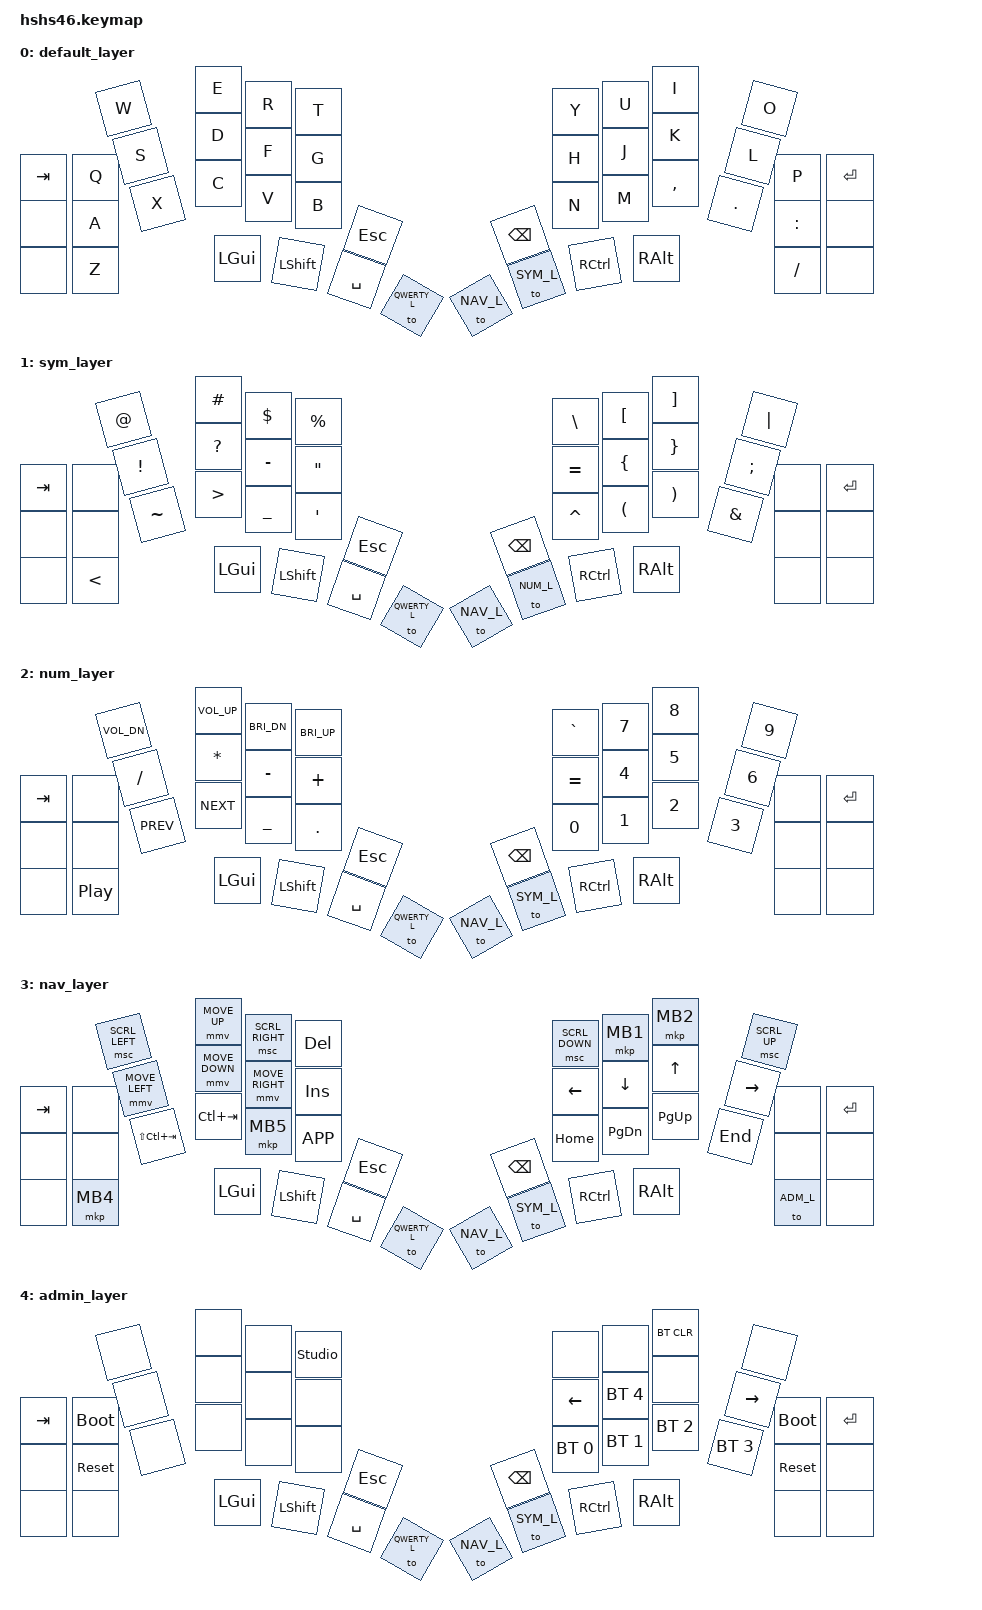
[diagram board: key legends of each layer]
/*
 * Copyright (c) 2021-2022 The ZMK Contributors
 *
 * SPDX-License-Identifier: MIT
 */

#include <behaviors.dtsi>
#include <dt-bindings/zmk/bt.h>
#include <dt-bindings/zmk/ext_power.h>
#include <dt-bindings/zmk/keys.h>
#include <dt-bindings/zmk/outputs.h>
#include <dt-bindings/zmk/pointing.h>

#define QWERTY_L 0
#define SYM_L    1
#define NUM_L    2
#define NAV_L    3
#define ADM_L    4

/* #define Undo   LC(Z) */
/* #define Cut    LC(X) */
/* #define Copy   LC(C) */
/* #define Paste  LC(V) */
/* #define Redo   LC(Y) */


/ {
        keymap {
                compatible = "zmk,keymap";

                default_layer {
/* QWERTY */
                        bindings = <
//    ┌─────┬───┬───┬──────┬──────┬─────┐                            ┌──────────┬──────┬──────┬───┬───┬─────┐
//    │ tab │ Q │ W │  E   │  R   │  T  │                            │    Y     │  U   │  I   │ O │ P │ ent │
//    ├─────┼───┼───┼──────┼──────┼─────┤                            ├──────────┼──────┼──────┼───┼───┼─────┤
//    │     │ A │ S │  D   │  F   │  G  │                            │    H     │  J   │  K   │ L │ : │     │
//    ├─────┼───┼───┼──────┼──────┼─────┼─────────────┐   ┌──────────┼──────────┼──────┼──────┼───┼───┼─────┤
//    │     │ Z │ X │  C   │  V   │  B  │     esc     │   │   bspc   │    N     │  M   │  ,   │ . │ / │     │
//    └─────┴───┴───┼──────┼──────┼─────┼─────────────┤   ├──────────┼──────────┼──────┼──────┼───┴───┴─────┘
//                  │ lgui │ lsft │ spc │ to QWERTY_L │   │ to NAV_L │ to SYM_L │ rctl │ ralt │
//                  └──────┴──────┴─────┴─────────────┘   └──────────┴──────────┴──────┴──────┘
  &kp TAB   &kp Q   &kp W   &kp E      &kp R       &kp T                                      &kp Y       &kp U       &kp I       &kp O     &kp P       &kp ENTER
  &none     &kp A   &kp S   &kp D      &kp F       &kp G                                      &kp H       &kp J       &kp K       &kp L     &kp COLON   &none
  &none     &kp Z   &kp X   &kp C      &kp V       &kp B       &kp ESC            &kp BSPC    &kp N       &kp M       &kp COMMA   &kp DOT   &kp SLASH   &none
                            &kp LGUI   &kp LSHFT   &kp SPACE   &to QWERTY_L       &to NAV_L   &to SYM_L   &kp RCTRL   &kp RALT
                        >;

                };

                sym_layer {
/* SYM */
                        bindings = <
//    ┌─────┬─────┬───┬──────┬──────┬─────┐                            ┌──────────┬──────┬──────┬───┬─────┬─────┐
//    │ tab │     │ @ │  #   │  $   │  %  │                            │    \     │  [   │  ]   │ | │     │ ent │
//    ├─────┼─────┼───┼──────┼──────┼─────┤                            ├──────────┼──────┼──────┼───┼─────┼─────┤
//    │     │     │ ! │  ?   │  -   │  "  │                            │    =     │  {   │  }   │ ; │     │     │
//    ├─────┼─────┼───┼──────┼──────┼─────┼─────────────┐   ┌──────────┼──────────┼──────┼──────┼───┼─────┼─────┤
//    │     │  <  │ ~ │  >   │  _   │  '  │     esc     │   │   bspc   │    ^     │  (   │  )   │ & │     │     │
//    └─────┴─────┴───┼──────┼──────┼─────┼─────────────┤   ├──────────┼──────────┼──────┼──────┼───┴─────┴─────┘
//                    │ lgui │ lsft │ spc │ to QWERTY_L │   │ to NAV_L │ to NUM_L │ rctl │ ralt │
//                    └──────┴──────┴─────┴─────────────┘   └──────────┴──────────┴──────┴──────┘
  &kp TAB   &none    &kp AT      &kp HASH    &kp DOLLAR   &kp PERCENT                                  &kp BSLH    &kp LBKT    &kp RBKT   &kp PIPE   &none   &kp ENTER
  &none     &none    &kp EXCL    &kp QMARK   &kp MINUS    &kp DQT                                      &kp EQUAL   &kp LBRC    &kp RBRC   &kp SEMI   &none   &none
  &none     &kp LT   &kp TILDE   &kp GT      &kp UNDER    &kp SQT       &kp ESC            &kp BSPC    &kp CARET   &kp LPAR    &kp RPAR   &kp AMPS   &none   &none
                                 &kp LGUI    &kp LSHFT    &kp SPACE     &to QWERTY_L       &to NAV_L   &to NUM_L   &kp RCTRL   &kp RALT
                        >;

                };

                num_layer {
/* NUM */
                        bindings = <
//    ┌─────┬──────┬──────┬──────┬──────┬──────┐                            ┌──────────┬──────┬──────┬───┬─────┬─────┐
//    │ tab │      │ vold │ volu │ bri- │ bri+ │                            │    `     │  7   │  8   │ 9 │     │ ent │
//    ├─────┼──────┼──────┼──────┼──────┼──────┤                            ├──────────┼──────┼──────┼───┼─────┼─────┤
//    │     │      │  /   │  *   │  -   │  +   │                            │    =     │  4   │  5   │ 6 │     │     │
//    ├─────┼──────┼──────┼──────┼──────┼──────┼─────────────┐   ┌──────────┼──────────┼──────┼──────┼───┼─────┼─────┤
//    │     │ play │ prev │ next │  _   │  .   │     esc     │   │   bspc   │    0     │  1   │  2   │ 3 │     │     │
//    └─────┴──────┴──────┼──────┼──────┼──────┼─────────────┤   ├──────────┼──────────┼──────┼──────┼───┴─────┴─────┘
//                        │ lgui │ lsft │ spc  │ to QWERTY_L │   │ to NAV_L │ to SYM_L │ rctl │ ralt │
//                        └──────┴──────┴──────┴─────────────┘   └──────────┴──────────┴──────┴──────┘
  &kp TAB   &none      &kp C_VOL_DN   &kp C_VOL_UP   &kp C_BRI_DN   &kp C_BRI_UP                                  &kp GRAVE   &kp N7      &kp N8     &kp N9   &none   &kp ENTER
  &none     &none      &kp SLASH      &kp ASTRK      &kp MINUS      &kp PLUS                                      &kp EQUAL   &kp N4      &kp N5     &kp N6   &none   &none
  &none     &kp C_PP   &kp C_PREV     &kp C_NEXT     &kp UNDER      &kp DOT        &kp ESC            &kp BSPC    &kp N0      &kp N1      &kp N2     &kp N3   &none   &none
                                      &kp LGUI       &kp LSHFT      &kp SPACE      &to QWERTY_L       &to NAV_L   &to SYM_L   &kp RCTRL   &kp RALT
                        >;

                };

                nav_layer {
/* NAV */
                        bindings = <
//    ┌─────┬──────┬─────────────────┬────────────────┬────────────────┬─────┐                            ┌────────────────┬──────┬──────┬──────────────┬──────────┬─────┐
//    │ tab │      │ &msc SCRL_left  │  &mmv MOVE_up  │ &msc SCRL_rght │ del │                            │ &msc SCRL_down │ lclk │ rclk │ &msc SCRL_up │          │ ent │
//    ├─────┼──────┼─────────────────┼────────────────┼────────────────┼─────┤                            ├────────────────┼──────┼──────┼──────────────┼──────────┼─────┤
//    │     │      │ &mmv MOVE_left  │ &mmv MOVE_down │ &mmv MOVE_rght │ ins │                            │      left      │ down │  up  │     rght     │          │     │
//    ├─────┼──────┼─────────────────┼────────────────┼────────────────┼─────┼─────────────┐   ┌──────────┼────────────────┼──────┼──────┼──────────────┼──────────┼─────┤
//    │     │ mbck │ lsft(lctl(tab)) │   lctl(tab)    │      mfwd      │ app │     esc     │   │   bspc   │      home      │ pgdn │ pgup │     end      │ to ADM_L │     │
//    └─────┴──────┴─────────────────┼────────────────┼────────────────┼─────┼─────────────┤   ├──────────┼────────────────┼──────┼──────┼──────────────┴──────────┴─────┘
//                                   │      lgui      │      lsft      │ spc │ to QWERTY_L │   │ to NAV_L │    to SYM_L    │ rctl │ ralt │
//                                   └────────────────┴────────────────┴─────┴─────────────┘   └──────────┴────────────────┴──────┴──────┘
  &kp TAB   &none      &msc SCRL_LEFT    &mmv MOVE_UP     &msc SCRL_RIGHT   &kp DEL                                    &msc SCRL_DOWN   &mkp MB1    &mkp MB2    &msc SCRL_UP   &none       &kp ENTER
  &none     &none      &mmv MOVE_LEFT    &mmv MOVE_DOWN   &mmv MOVE_RIGHT   &kp INS                                    &kp LEFT         &kp DOWN    &kp UP      &kp RIGHT      &none       &none
  &none     &mkp MB4   &kp LS(LC(TAB))   &kp LC(TAB)      &mkp MB5          &kp K_APP   &kp ESC            &kp BSPC    &kp HOME         &kp PG_DN   &kp PG_UP   &kp END        &to ADM_L   &none
                                         &kp LGUI         &kp LSHFT         &kp SPACE   &to QWERTY_L       &to NAV_L   &to SYM_L        &kp RCTRL   &kp RALT
                        >;

                };
                admin_layer {
                  bindings = <
//    ┌─────┬────────────┬─────┬──────┬──────┬────────────────┐                            ┌──────────┬──────────┬──────────┬──────────┬────────────┬─────┐
//    │ tab │    boot    │     │      │      │ &studio_unlock │                            │          │          │  bt_clr  │          │    boot    │ ent │
//    ├─────┼────────────┼─────┼──────┼──────┼────────────────┤                            ├──────────┼──────────┼──────────┼──────────┼────────────┼─────┤
//    │     │ &sys_reset │     │      │      │                │                            │   left   │ bt_sel 4 │          │   rght   │ &sys_reset │     │
//    ├─────┼────────────┼─────┼──────┼──────┼────────────────┼─────────────┐   ┌──────────┼──────────┼──────────┼──────────┼──────────┼────────────┼─────┤
//    │     │            │     │      │      │                │     esc     │   │   bspc   │ bt_sel 0 │ bt_sel 1 │ bt_sel 2 │ bt_sel 3 │            │     │
//    └─────┴────────────┴─────┼──────┼──────┼────────────────┼─────────────┤   ├──────────┼──────────┼──────────┼──────────┼──────────┴────────────┴─────┘
//                             │ lgui │ lsft │      spc       │ to QWERTY_L │   │ to NAV_L │ to SYM_L │   rctl   │   ralt   │
//                             └──────┴──────┴────────────────┴─────────────┘   └──────────┴──────────┴──────────┴──────────┘
  &kp TAB   &bootloader   &none   &none      &none       &studio_unlock                                  &none          &none          &bt BT_CLR     &none          &bootloader   &kp ENTER
  &none     &sys_reset    &none   &none      &none       &none                                           &kp LEFT       &bt BT_SEL 4   &none          &kp RIGHT      &sys_reset    &none
  &none     &none         &none   &none      &none       &none            &kp ESC            &kp BSPC    &bt BT_SEL 0   &bt BT_SEL 1   &bt BT_SEL 2   &bt BT_SEL 3   &none         &none
                                  &kp LGUI   &kp LSHFT   &kp SPACE        &to QWERTY_L       &to NAV_L   &to SYM_L      &kp RCTRL      &kp RALT
                  >;
                };

                extra1 {
                        status = "reserved";
                };

                extra2 {
                        status = "reserved";
                };
        };
};
